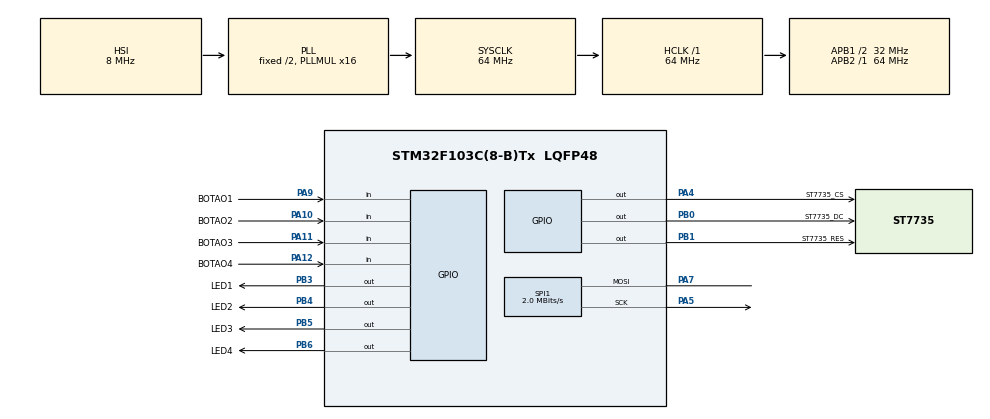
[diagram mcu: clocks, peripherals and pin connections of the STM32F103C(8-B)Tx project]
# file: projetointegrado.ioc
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Mcu.Family=STM32F1
Mcu.Name=STM32F103C(8-B)Tx
Mcu.Package=LQFP48
NVIC.PriorityGroup=NVIC_PRIORITYGROUP_4
PA10.GPIO_Label=BOTAO2
PA10.GPIO_PuPd=GPIO_PULLUP
PA10.Signal=GPIO_Input
PA11.GPIO_Label=BOTAO3
PA11.GPIO_PuPd=GPIO_PULLUP
PA11.Signal=GPIO_Input
PA12.GPIO_Label=BOTAO4
PA12.GPIO_PuPd=GPIO_PULLUP
PA12.Signal=GPIO_Input
PA13.Mode=Serial_Wire
PA13.Signal=SYS_JTMS-SWDIO
PA14.Mode=Serial_Wire
PA14.Signal=SYS_JTCK-SWCLK
PA4.GPIO_Label=ST7735_CS
PA4.Signal=GPIO_Output
PA5.Mode=Simplex_Bidirectional_Master
PA5.Signal=SPI1_SCK
PA7.Mode=Simplex_Bidirectional_Master
PA7.Signal=SPI1_MOSI
PA9.GPIO_Label=BOTAO1
PA9.GPIO_PuPd=GPIO_PULLUP
PA9.Signal=GPIO_Input
PB0.GPIO_Label=ST7735_DC
PB0.Signal=GPIO_Output
PB1.GPIO_Label=ST7735_RES
PB1.Signal=GPIO_Output
PB3.GPIO_Label=LED1
PB3.Signal=GPIO_Output
PB4.GPIO_Label=LED2
PB4.Signal=GPIO_Output
PB5.GPIO_Label=LED3
PB5.Signal=GPIO_Output
PB6.GPIO_Label=LED4
PB6.Signal=GPIO_Output
ProjectManager.HeapSize=0x200
ProjectManager.StackSize=0x400
ProjectManager.TargetToolchain=STM32CubeIDE
RCC.AHBFreq_Value=64000000
RCC.APB1CLKDivider=RCC_HCLK_DIV2
RCC.APB1Freq_Value=32000000
RCC.APB1TimFreq_Value=64000000
RCC.APB2Freq_Value=64000000
RCC.APB2TimFreq_Value=64000000
RCC.HCLKFreq_Value=64000000
RCC.PLLMUL=RCC_PLL_MUL16
RCC.SYSCLKFreq_VALUE=64000000
RCC.SYSCLKSource=RCC_SYSCLKSOURCE_PLLCLK
RCC.USBFreq_Value=64000000
SPI1.BaudRatePrescaler=SPI_BAUDRATEPRESCALER_32
SPI1.CalculateBaudRate=2.0 MBits/s
SPI1.Direction=SPI_DIRECTION_1LINE
SPI1.Mode=SPI_MODE_MASTER
SPI1.VirtualType=VM_MASTER
board=custom

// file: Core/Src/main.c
/* USER CODE BEGIN Header */
/**
  ******************************************************************************
  * @file           : main.c
  * @brief          : Main program body
  ******************************************************************************
  * @attention
  *
  * <h2><center>&copy; Copyright (c) 2026 STMicroelectronics.
  * All rights reserved.</center></h2>
  *
  * This software component is licensed by ST under BSD 3-Clause license,
  * the "License"; You may not use this file except in compliance with the
  * License. You may obtain a copy of the License at:
  *                        opensource.org/licenses/BSD-3-Clause
  *
  ******************************************************************************
  */
/* USER CODE END Header */
#include "main.h"

/* USER CODE BEGIN Includes */
#include "st7735.h"
#include "fonts.h"
#include <stdio.h>
#include <stdlib.h>
/* USER CODE END Includes */

/* USER CODE BEGIN PD */
#define button1 HAL_GPIO_ReadPin(BOTAO1_GPIO_Port, BOTAO1_Pin)
#define button2 HAL_GPIO_ReadPin(BOTAO2_GPIO_Port, BOTAO2_Pin)
#define button3 HAL_GPIO_ReadPin(BOTAO3_GPIO_Port, BOTAO3_Pin)
#define button4 HAL_GPIO_ReadPin(BOTAO4_GPIO_Port, BOTAO4_Pin)
/* USER CODE END PD */

SPI_HandleTypeDef hspi1;

/* USER CODE BEGIN PV */
int senha;
int senha_usuario;
int alunos;
int alunospresentes = 0;
int alunosfora =  0;
int contadorsaida = 0;
int tela = 0;
int erros = 0;
char buffer[32];
/* USER CODE END PV */

void SystemClock_Config(void);
static void MX_GPIO_Init(void);
static void MX_SPI1_Init(void);
/* USER CODE BEGIN PFP */
void Entrada(void);
int ler_digito(void);
void Alunos(void);
void Presenca(void);
void ControleSaida(void);
void Encerramento(void);
/* USER CODE END PFP */

int main(void)
{

  /* MCU Configuration--------------------------------------------------------*/

  /* Reset of all peripherals, Initializes the Flash interface and the Systick. */
  HAL_Init();

  /* Configure the system clock */
  SystemClock_Config();

  /* Initialize all configured peripherals */
  MX_GPIO_Init();
  MX_SPI1_Init();
  /* USER CODE BEGIN 2 */
  ST7735_Init();
  ST7735_FillScreen(BLACK);
  senha = (HAL_GetTick()%90)+10;
  /* USER CODE END 2 */

  /* Infinite loop */
  /* USER CODE BEGIN WHILE */
  while (1)
  {
	  if (tela == 0) {
	      ST7735_WriteString(10, 10, "SISTEMA AULA", Font_7x10, WHITE, BLACK);
	      ST7735_WriteString(10, 30, "PA9 PARA INICIAR", Font_7x10, YELLOW, BLACK);

	      if(button1 == GPIO_PIN_RESET){
	    	  tela = 1;
	    	  ST7735_FillScreen(BLACK);
	    	  while(button1 == GPIO_PIN_RESET);
	      }
	  }
	  else if (tela == 1) {
	  	  Entrada();
	  	  ST7735_FillScreen(BLACK);
	  }
	  else if (tela == 3) {
	          sprintf(buffer, "PRESENTE: %02d/%02d", alunospresentes, alunos);
	          ST7735_WriteString(5, 10, buffer, Font_7x10, WHITE, BLACK);

	          sprintf(buffer, "BANHEIRO: %d/3", alunosfora);
	          ST7735_WriteString(5, 25, buffer, Font_7x10, (alunosfora >= 3) ? RED : YELLOW, BLACK);

	          ST7735_WriteString(5, 50, "PA10 - MATRICULA", Font_7x10, GREEN, BLACK);
	          ST7735_WriteString(5, 65, "PA11 - BANHEIRO", Font_7x10, GREEN, BLACK);
	          ST7735_WriteString(5, 37, "PA11+12 - ENCERRAR", Font_7x10, YELLOW, BLACK);

	          if(button3 == GPIO_PIN_RESET && button4 == GPIO_PIN_RESET)
	          {
	              Encerramento();
	              tela = 4;
	              ST7735_FillScreen(BLACK);
	              HAL_Delay(500);
	          }

	          else if(button2 == GPIO_PIN_RESET)
	          {
	              Presenca();
	          }

	          else if(button3 == GPIO_PIN_RESET)
	          {
	              ControleSaida();
	          }
	      }
     HAL_Delay(100);
    /* USER CODE END WHILE */

  }
}

void SystemClock_Config(void)
{
  RCC_OscInitTypeDef RCC_OscInitStruct = {0};
  RCC_ClkInitTypeDef RCC_ClkInitStruct = {0};

  /** Initializes the RCC Oscillators according to the specified parameters
  * in the RCC_OscInitTypeDef structure.
  */
  RCC_OscInitStruct.OscillatorType = RCC_OSCILLATORTYPE_HSI;
  RCC_OscInitStruct.HSIState = RCC_HSI_ON;
  RCC_OscInitStruct.HSICalibrationValue = RCC_HSICALIBRATION_DEFAULT;
  RCC_OscInitStruct.PLL.PLLState = RCC_PLL_ON;
  RCC_OscInitStruct.PLL.PLLSource = RCC_PLLSOURCE_HSI_DIV2;
  RCC_OscInitStruct.PLL.PLLMUL = RCC_PLL_MUL16;
  if (HAL_RCC_OscConfig(&RCC_OscInitStruct) != HAL_OK)
  {
    Error_Handler();
  }
  /** Initializes the CPU, AHB and APB buses clocks
  */
  RCC_ClkInitStruct.ClockType = RCC_CLOCKTYPE_HCLK|RCC_CLOCKTYPE_SYSCLK
                              |RCC_CLOCKTYPE_PCLK1|RCC_CLOCKTYPE_PCLK2;
  RCC_ClkInitStruct.SYSCLKSource = RCC_SYSCLKSOURCE_PLLCLK;
  RCC_ClkInitStruct.AHBCLKDivider = RCC_SYSCLK_DIV1;
  RCC_ClkInitStruct.APB1CLKDivider = RCC_HCLK_DIV2;
  RCC_ClkInitStruct.APB2CLKDivider = RCC_HCLK_DIV1;

  if (HAL_RCC_ClockConfig(&RCC_ClkInitStruct, FLASH_LATENCY_2) != HAL_OK)
  {
    Error_Handler();
  }
}

static void MX_SPI1_Init(void)
{

  /* SPI1 parameter configuration*/
  hspi1.Instance = SPI1;
  hspi1.Init.Mode = SPI_MODE_MASTER;
  hspi1.Init.Direction = SPI_DIRECTION_1LINE;
  hspi1.Init.DataSize = SPI_DATASIZE_8BIT;
  hspi1.Init.CLKPolarity = SPI_POLARITY_LOW;
  hspi1.Init.CLKPhase = SPI_PHASE_1EDGE;
  hspi1.Init.NSS = SPI_NSS_SOFT;
  hspi1.Init.BaudRatePrescaler = SPI_BAUDRATEPRESCALER_32;
  hspi1.Init.FirstBit = SPI_FIRSTBIT_MSB;
  hspi1.Init.TIMode = SPI_TIMODE_DISABLE;
  hspi1.Init.CRCCalculation = SPI_CRCCALCULATION_DISABLE;
  hspi1.Init.CRCPolynomial = 10;
  if (HAL_SPI_Init(&hspi1) != HAL_OK)
  {
    Error_Handler();
  }

}

static void MX_GPIO_Init(void)
{
  GPIO_InitTypeDef GPIO_InitStruct = {0};

  /* GPIO Ports Clock Enable */
  __HAL_RCC_GPIOA_CLK_ENABLE();
  __HAL_RCC_GPIOB_CLK_ENABLE();

  /*Configure GPIO pin Output Level */
  HAL_GPIO_WritePin(ST7735_CS_GPIO_Port, ST7735_CS_Pin, GPIO_PIN_RESET);

  /*Configure GPIO pin Output Level */
  HAL_GPIO_WritePin(GPIOB, ST7735_DC_Pin|ST7735_RES_Pin|LED1_Pin|LED2_Pin
                          |LED3_Pin|LED4_Pin, GPIO_PIN_RESET);

  /*Configure GPIO pin : ST7735_CS_Pin */
  GPIO_InitStruct.Pin = ST7735_CS_Pin;
  GPIO_InitStruct.Mode = GPIO_MODE_OUTPUT_PP;
  GPIO_InitStruct.Pull = GPIO_NOPULL;
  GPIO_InitStruct.Speed = GPIO_SPEED_FREQ_LOW;
  HAL_GPIO_Init(ST7735_CS_GPIO_Port, &GPIO_InitStruct);

  /*Configure GPIO pins : ST7735_DC_Pin ST7735_RES_Pin LED1_Pin LED2_Pin
                           LED3_Pin LED4_Pin */
  GPIO_InitStruct.Pin = ST7735_DC_Pin|ST7735_RES_Pin|LED1_Pin|LED2_Pin
                          |LED3_Pin|LED4_Pin;
  GPIO_InitStruct.Mode = GPIO_MODE_OUTPUT_PP;
  GPIO_InitStruct.Pull = GPIO_NOPULL;
  GPIO_InitStruct.Speed = GPIO_SPEED_FREQ_LOW;
  HAL_GPIO_Init(GPIOB, &GPIO_InitStruct);

  /*Configure GPIO pins : BOTAO1_Pin BOTAO2_Pin BOTAO3_Pin BOTAO4_Pin */
  GPIO_InitStruct.Pin = BOTAO1_Pin|BOTAO2_Pin|BOTAO3_Pin|BOTAO4_Pin;
  GPIO_InitStruct.Mode = GPIO_MODE_INPUT;
  GPIO_InitStruct.Pull = GPIO_PULLUP;
  HAL_GPIO_Init(GPIOA, &GPIO_InitStruct);

}

/* USER CODE BEGIN 4 */
int ler_digito(void) {
    int valor = 0;
    while (1) {
        sprintf(buffer, "%d", valor);
        ST7735_WriteString(60, 55, buffer, Font_11x18, CYAN, BLACK);

        if (button1 == GPIO_PIN_RESET) {
            HAL_Delay(100);
            if (button1 == GPIO_PIN_RESET) {
                valor = (valor + 1) % 10;
                while (button1 == GPIO_PIN_RESET);
                HAL_Delay(100);
            }
        }

        if (button2 == GPIO_PIN_RESET) {
            HAL_Delay(100);
            if (button2 == GPIO_PIN_RESET) {
                while (button2 == GPIO_PIN_RESET);
                HAL_Delay(100);

                ST7735_FillRectangle(50, 50, 40, 20, BLACK);
                return valor;
            }
        }
    }
}

void Entrada(void){
	ST7735_FillScreen(BLACK);
	for (int tentativas = 0; tentativas < 3; tentativas++) {

	        ST7735_FillScreen(BLACK);
	        ST7735_WriteString(10, 10, "DIGITE A SENHA:", Font_7x10, WHITE, BLACK);
	        ST7735_WriteString(10, 20, "PA9 INSERE", Font_7x10, YELLOW, BLACK);
	        ST7735_WriteString(10, 30, "PA10 CONFIRMA", Font_7x10, YELLOW, BLACK);

	        sprintf(buffer, "TENTATIVA %d/3", tentativas + 1);
	        ST7735_WriteString(10, 110, buffer, Font_7x10, YELLOW, BLACK);

	        HAL_Delay(2000);

	        int d1 = ler_digito();
	        ST7735_WriteString(50, 40, "*", Font_11x18, GREEN, BLACK);

	        int d2 = ler_digito();
	        ST7735_WriteString(65, 40, "*", Font_11x18, GREEN, BLACK);

	        senha_usuario = (d1 * 10) + d2;

	        HAL_Delay(1000);
	        ST7735_FillScreen(BLACK);
	        if (senha_usuario == senha) {
	        	            ST7735_FillScreen(BLACK);
	        	            ST7735_WriteString(10, 50, "SENHA CORRETA!", Font_7x10, GREEN, BLACK);
	        	            HAL_Delay(3000);
	        	            Alunos();
	        	            ST7735_FillScreen(BLACK);
	        	            return;
	        }else{
	            ST7735_FillScreen(BLACK);
	            ST7735_WriteString(10, 50, "SENHA INCORRETA!", Font_7x10, GREEN, BLACK);
	            HAL_Delay(3000);
	        }
	    }

	    ST7735_FillScreen(BLACK);
	    ST7735_WriteString(10, 30, "SISTEMA BLOQUEADO", Font_7x10, RED, BLACK);
	    ST7735_WriteString(10, 50, "AGUARDE 5 SEGUNDOS", Font_7x10, WHITE, BLACK);
	    HAL_Delay(5000);
	    ST7735_FillScreen(BLACK);
}
void Alunos(void) {
    ST7735_FillScreen(BLACK);
    ST7735_WriteString(10, 10, "CONFIGURAR AULA", Font_7x10, WHITE, BLACK);
    ST7735_WriteString(10, 20, "LIMITE DE ALUNOS:", Font_7x10, YELLOW, BLACK);
    ST7735_WriteString(10, 30, "PA9 INSERE", Font_7x10, YELLOW, BLACK);
    ST7735_WriteString(10, 40, "PA10 CONFIRMA", Font_7x10, YELLOW, BLACK);

    ST7735_WriteString(10, 55, "Qtd:", Font_11x18, WHITE, BLACK);

    int d1 = ler_digito();
    ST7735_WriteString(75, 55, "*", Font_11x18, GREEN, BLACK);

    int d2 = ler_digito();
    ST7735_WriteString(90, 55, "*", Font_11x18, GREEN, BLACK);

    alunos = (d1 * 10) + d2;

    ST7735_WriteString(10, 90, "SALVO COM SUCESSO!", Font_7x10, GREEN, BLACK);
    HAL_Delay(1000);
    tela = 3;
}
void Presenca(void){
    ST7735_FillScreen(BLACK);
    ST7735_WriteString(10, 10, "REGISTRO DE RA", Font_7x10, WHITE, BLACK);

    while(button3 != GPIO_PIN_RESET && alunospresentes < alunos)
    {
            HAL_Delay(200);

            ST7735_WriteString(10, 40, "DIGITE OS 5 DIGITOS", Font_7x10, YELLOW, BLACK);
            ST7735_WriteString(10, 20, "PA9 SELECIONA", Font_7x10, YELLOW, BLACK);
            ST7735_WriteString(10, 30, "PA10 CONFIRMA", Font_7x10, YELLOW, BLACK);

            int d1 = ler_digito();
            ST7735_WriteString(30, 50, "*", Font_11x18, BLUE, BLACK);

            int d2 = ler_digito();
            ST7735_WriteString(45, 50, "*", Font_11x18, BLUE, BLACK);

            int d3 = ler_digito();
            ST7735_WriteString(60, 50, "*", Font_11x18, BLUE, BLACK);

            int d4 = ler_digito();
            ST7735_WriteString(75, 50, "*", Font_11x18, BLUE, BLACK);

            int d5 = ler_digito();
            ST7735_WriteString(90, 50, "*", Font_11x18, BLUE, BLACK);

            int ra = (d1 * 10000) + (d2 * 1000) + (d3 * 100) + (d4 * 10) + d5;

            alunospresentes++;

            ST7735_FillScreen(BLACK);
            ST7735_WriteString(10, 50, "RA REGISTRADO!", Font_7x10, GREEN, BLACK);
            ST7735_WriteString(10, 20, "SEGURE PA11", Font_7x10, CYAN, BLACK);
            ST7735_WriteString(10, 30, "PARA VOLTAR.", Font_7x10, CYAN, BLACK);
            if(button3 == GPIO_PIN_RESET)
            {
            	ST7735_FillScreen(BLACK);
            	HAL_Delay(2000);
            	return;
            }
            HAL_Delay(4000);

            ST7735_FillRectangle(30, 50, 80, 20, BLACK);
            ST7735_FillRectangle(10, 80, 100, 20, BLACK);

            HAL_Delay(200);
    }

    if (alunospresentes >= alunos) {
        ST7735_FillScreen(BLACK);
        ST7735_WriteString(10, 50, "SALA LOTADA!", Font_7x10, RED, BLACK);
        HAL_Delay(1500);

    }

    tela = 3;
    ST7735_FillScreen(BLACK);
    return;
}
void ControleSaida(void) {
    ST7735_FillScreen(BLACK);

    while (tela == 3) {
        ST7735_WriteString(5, 10, "CONTROLE BANHEIRO", Font_7x10, CYAN, BLACK);
	    ST7735_WriteString(5, 25, "PA9: VOLTAR MENU", Font_7x10, GREEN, BLACK);
        ST7735_WriteString(5, 35, "PA10: ADICIONAR SAIDA", Font_7x10, YELLOW, BLACK);
        ST7735_WriteString(5, 45, "PA11: RETIRAR SAIDA", Font_7x10, YELLOW, BLACK);

        if (button2 == GPIO_PIN_RESET && alunosfora < 3) {
            HAL_Delay(50);
            if (button2 == GPIO_PIN_RESET) {
                alunosfora++;
                contadorsaida++;

                ST7735_WriteString(10, 60, "SAIDA REGISTRADA", Font_7x10, GREEN, BLACK);
                HAL_Delay(500);
                ST7735_FillRectangle(10, 50, 120, 20, BLACK);

                while (button2 == GPIO_PIN_RESET);
                HAL_Delay(50);
            }
        }

        if (button3 == GPIO_PIN_RESET && alunosfora > 0) {
            HAL_Delay(50);
            if (button3 == GPIO_PIN_RESET) {
                alunosfora--;

                ST7735_WriteString(10, 60, "RETORNO OK", Font_7x10, BLUE, BLACK);
                HAL_Delay(500);
                ST7735_FillRectangle(10, 50, 120, 20, BLACK);

                while (button3 == GPIO_PIN_RESET);
                HAL_Delay(50);
            }
        }

        if (button1 == GPIO_PIN_RESET) {
            HAL_Delay(50);
            if (button1 == GPIO_PIN_RESET) {
                while (button1 == GPIO_PIN_RESET);
                HAL_Delay(50);

                ST7735_FillScreen(BLACK);
                return;
            }
        }

        sprintf(buffer, "FORA AGORA: %d/3", alunosfora);
        ST7735_WriteString(10, 60, buffer, Font_7x10, WHITE, BLACK);
    }
}
void Encerramento(void)
{
	ST7735_FillScreen(BLACK);
	ST7735_WriteString(10, 10, "RELATORIO FINAL", Font_7x10, CYAN, BLACK);

	 sprintf(buffer, "TOTAL ALUNOS: %d", alunospresentes);
	 ST7735_WriteString(10, 40, buffer, Font_7x10, WHITE, BLACK);

	 sprintf(buffer, "SAIDAS: %d", contadorsaida);
	 ST7735_WriteString(10, 60, buffer, Font_7x10, WHITE, BLACK);

	 ST7735_WriteString(10, 100, "AULA ENCERRADA", Font_7x10, RED, BLACK);
	 while(1);
}
/* USER CODE END 4 */

void Error_Handler(void)
{
  __disable_irq();
  while (1)
  {
  }
}

/************************ (C) COPYRIGHT STMicroelectronics *****END OF FILE****/
